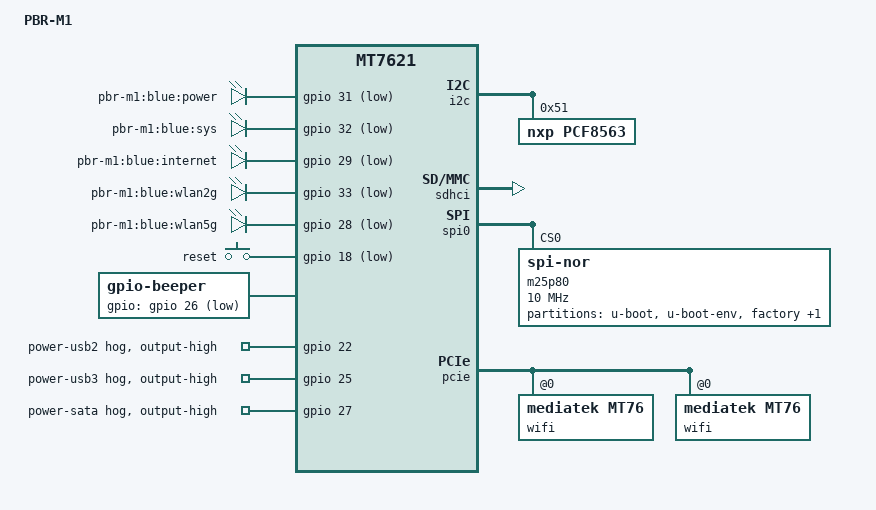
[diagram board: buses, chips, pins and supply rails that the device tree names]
/dts-v1/;

#include "mt7621.dtsi"

#include <dt-bindings/gpio/gpio.h>
#include <dt-bindings/input/input.h>

/ {
	compatible = "d-team,pbr-m1", "mediatek,mt7621-soc";
	model = "PBR-M1";

	/*aliases {
		led-boot = &led_sys;
		led-failsafe = &led_sys;
		led-running = &led_sys;
		led-upgrade = &led_sys;
	};*/

	/*memory@0 {
		device_type = "memory";
		reg = <0x0 0x1c000000>, <0x20000000 0x4000000>;
	};*/

	chosen {
		bootargs = "console=ttyS0,115200 root=/dev/mmcblk0p1 rootwait";
	};

	leds {
		compatible = "gpio-leds";

		power {
			label = "pbr-m1:blue:power";
			gpios = <&gpio 31 GPIO_ACTIVE_LOW>;
			default-state = "on";
		};

		led_sys: sys {
			label = "pbr-m1:blue:sys";
			gpios = <&gpio 32 GPIO_ACTIVE_LOW>;
		};

		internet {
			label = "pbr-m1:blue:internet";
			gpios = <&gpio 29 GPIO_ACTIVE_LOW>;
		};

		wlan2g {
			label = "pbr-m1:blue:wlan2g";
			gpios = <&gpio 33 GPIO_ACTIVE_LOW>;
		};

		wlan5g {
			label = "pbr-m1:blue:wlan5g";
			gpios = <&gpio 28 GPIO_ACTIVE_LOW>;
		};
	};

	keys {
		compatible = "gpio-keys-polled";
		poll-interval = <20>;

		reset {
			label = "reset";
			gpios = <&gpio 18 GPIO_ACTIVE_LOW>;
			linux,code = <KEY_RESTART>;
		};
	};

	beeper {
		compatible = "gpio-beeper";
		gpios = <&gpio 26 GPIO_ACTIVE_LOW>;
	};
};

&gpio {
	power_usb2 {
		gpio-hog;
		gpios = <22 GPIO_ACTIVE_HIGH>;
		output-high;
		line-name = "power-usb2";
	};

	power_usb3 {
		gpio-hog;
		gpios = <25 GPIO_ACTIVE_HIGH>;
		output-high;
		line-name = "power-usb3";
	};

	power_sata {
		gpio-hog;
		gpios = <27 GPIO_ACTIVE_HIGH>;
		output-high;
		line-name = "power-sata";
	};
};

&i2c {
	status = "okay";

	pcf8563: rtc@51 {
		status = "okay";
		compatible = "nxp,pcf8563";
		reg = <0x51>;
	};
};

&sdhci {
	status = "okay";
};

&spi0 {
	status = "okay";

	m25p80@0 {
		compatible = "jedec,spi-nor";
		reg = <0>;
		spi-max-frequency = <10000000>;

		partitions {
			compatible = "fixed-partitions";
			#address-cells = <1>;
			#size-cells = <1>;

			partition@0 {
				label = "u-boot";
				reg = <0x0 0x30000>;
				read-only;
			};

			partition@30000 {
				label = "u-boot-env";
				reg = <0x30000 0x10000>;
				read-only;
			};

			factory: partition@40000 {
				label = "factory";
				reg = <0x40000 0x10000>;
				read-only;
			};

			partition@50000 {
				compatible = "denx,uimage";
				label = "firmware";
				reg = <0x50000 0xfb0000>;
			};
		};
	};
};

&pcie {
	status = "okay";

	pcie@0,0 {
		wifi@0,0 {
			compatible = "mediatek,mt76";
			reg = <0x0000 0 0 0 0>;
			ieee80211-freq-limit = <5000000 6000000>;
			mediatek,mtd-eeprom = <&factory 0x8000>;
		};
	};

	pcie@1,0 {
		wifi@0,0 {
			compatible = "mediatek,mt76";
			reg = <0x0000 0 0 0 0>;
			ieee80211-freq-limit = <2400000 2500000>;
			mediatek,mtd-eeprom = <&factory 0x0000>;
		};
	};
};

&ethernet {
	mtd-mac-address = <&factory 0xe000>;
};

&pinctrl {
	state_default: pinctrl0 {
		gpio {
			ralink,group = "wdt", "rgmii2", "jtag", "mdio";
			ralink,function = "gpio";
		};
	};
};

&switch0 {
	ports {
		port@0 {
			status = "okay";
		};
		port@1 {
			status = "okay";
		};
		port@2 {
			status = "okay";
		};
		port@3 {
			status = "okay";
		};
		port@4 {
			status = "okay";
		};
	};
};

